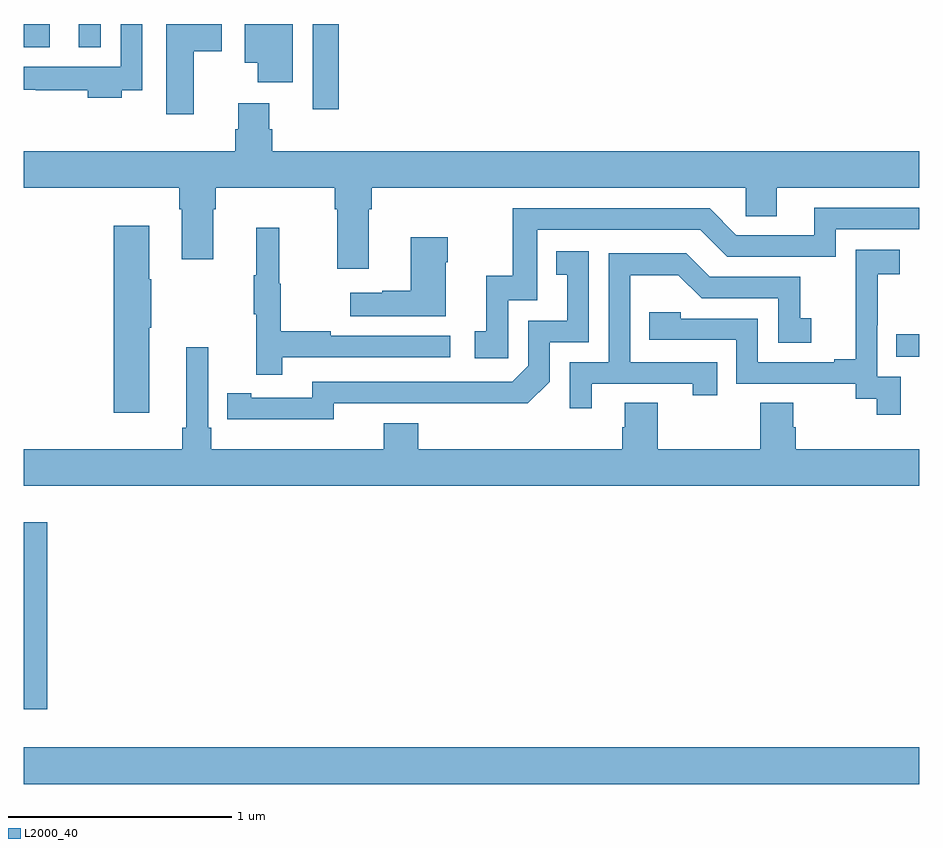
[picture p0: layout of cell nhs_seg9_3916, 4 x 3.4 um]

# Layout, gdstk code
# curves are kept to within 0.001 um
import gdstk
lib = gdstk.Library(unit=1e-6, precision=1e-09)
def R(c, l, rs):  # rectangles x0, y0, x1, y1
    for r in rs: c.add(gdstk.rectangle(r[:2], r[2:], *l))
def P(c, l, *ps):  # polygons
    for p in ps: c.add(gdstk.Polygon(p, *l))
L2000_40 = (2000, 40)

nhs_seg9_3916 = lib.new_cell('nhs_seg9_3916')
R(nhs_seg9_3916, L2000_40, [(335,1179.104,339,1179.268), (335,1179.438,335.105,1180.273), (338.899,1181.013,339,1181.114), (336.291,1182.12,336.407,1182.5), (335.246,1182.395,335.343,1182.5), (335,1182.396,335.116,1182.5)])
P(nhs_seg9_3916, L2000_40, [(336.202,1182.5),(335.987,1182.5),(335.987,1182.326),(336.044,1182.326),(336.044,1182.24),(336.202,1182.24)],
  [(335.437,1182.204),(335.529,1182.204),(335.529,1182.5),(335.433,1182.5),(335.433,1182.31),(335,1182.31),(335,1182.206),(335.053,1182.206),(335.053,1182.204),(335.285,1182.204),(335.285,1182.17),(335.437,1182.17)],
  [(335.758,1182.379),(335.884,1182.379),(335.884,1182.5),(335.636,1182.5),(335.636,1182.096),(335.758,1182.096)],
  [(336.541,1181.672),(336.554,1181.672),(336.554,1181.768),(338.226,1181.768),(338.226,1181.641),(338.365,1181.641),(338.365,1181.768),(339,1181.768),(339,1181.932),(336.11,1181.932),(336.11,1182.03),(336.097,1182.03),(336.097,1182.145),(335.957,1182.145),(335.957,1182.03),(335.945,1182.03),(335.945,1181.932),(335,1181.932),(335,1181.768),(335.693,1181.768),(335.693,1181.672),(335.705,1181.672),(335.705,1181.448),(335.845,1181.448),(335.845,1181.672),(335.858,1181.672),(335.858,1181.768),(336.389,1181.768),(336.389,1181.672),(336.401,1181.672),(336.401,1181.406),(336.541,1181.406)],
  [(337.164,1181.265),(337.293,1181.265),(337.293,1181.58),(338.022,1181.58),(338.142,1181.46),(338.628,1181.46),(338.628,1181.583),(339,1181.583),(339,1181.679),(338.531,1181.679),(338.531,1181.556),(338.184,1181.556),(338.064,1181.676),(337.185,1181.676),(337.185,1181.374),(337.067,1181.374),(337.067,1181.127),(337.014,1181.127),(337.014,1181.007),(337.164,1181.007)],
  [(335.56,1181.143),(335.568,1181.143),(335.568,1181.36),(335.56,1181.36),(335.56,1181.599),(335.402,1181.599),(335.402,1180.764),(335.56,1180.764)],
  [(336.155,1181.01),(336.904,1181.01),(336.904,1181.106),(336.371,1181.106),(336.371,1181.126),(336.148,1181.126),(336.148,1181.34),(336.14,1181.34),(336.14,1181.59),(336.038,1181.59),(336.038,1181.377),(336.027,1181.377),(336.027,1181.203),(336.038,1181.203),(336.038,1180.932),(336.155,1180.932)],
  [(336.886,1181.435),(336.894,1181.435),(336.894,1181.548),(336.728,1181.548),(336.728,1181.309),(336.602,1181.309),(336.602,1181.299),(336.459,1181.299),(336.459,1181.195),(336.886,1181.195)],
  [(338.919,1180.923),(338.814,1180.923),(338.814,1181.153),(338.816,1181.153),(338.816,1181.381),(338.914,1181.381),(338.914,1181.491),(338.716,1181.491),(338.716,1181.285),(338.717,1181.285),(338.717,1181.002),(338.621,1181.002),(338.621,1180.989),(338.28,1180.989),(338.28,1181.184),(337.935,1181.184),(337.935,1181.211),(337.795,1181.211),(337.795,1181.088),(338.184,1181.088),(338.184,1180.893),(338.718,1180.893),(338.718,1180.825),(338.811,1180.825),(338.811,1180.755),(338.919,1180.755)],
  [(336.384,1180.806),(337.252,1180.805),(337.35,1180.902),(337.35,1181.079),(337.524,1181.079),(337.524,1181.485),(337.378,1181.485),(337.378,1181.379),(337.427,1181.379),(337.427,1181.175),(337.254,1181.175),(337.254,1180.974),(337.182,1180.902),(336.288,1180.902),(336.288,1180.83),(336.016,1180.83),(336.016,1180.85),(335.908,1180.85),(335.908,1180.734),(336.384,1180.733)],
  [(337.537,1180.893),(337.988,1180.893),(337.988,1180.842),(338.099,1180.842),(338.099,1180.989),(337.71,1180.989),(337.71,1181.378),(337.924,1181.378),(338.028,1181.274),(338.37,1181.274),(338.37,1181.076),(338.518,1181.076),(338.518,1181.185),(338.469,1181.185),(338.469,1181.37),(338.065,1181.37),(337.96,1181.475),(337.614,1181.475),(337.614,1180.989),(337.44,1180.989),(337.44,1180.782),(337.537,1180.782)],
  [(339,1180.6),(338.45,1180.6),(338.45,1180.698),(338.437,1180.698),(338.437,1180.808),(338.29,1180.808),(338.29,1180.6),(337.833,1180.6),(337.833,1180.808),(337.685,1180.808),(337.685,1180.698),(337.673,1180.698),(337.673,1180.6),(336.761,1180.6),(336.761,1180.717),(336.608,1180.717),(336.608,1180.6),(335.837,1180.6),(335.837,1180.696),(335.823,1180.696),(335.823,1181.056),(335.726,1181.056),(335.726,1180.696),(335.707,1180.696),(335.707,1180.6),(335,1180.6),(335,1180.436),(339,1180.436)])

lib.write_gds('nhs_seg9_3916.gds')
